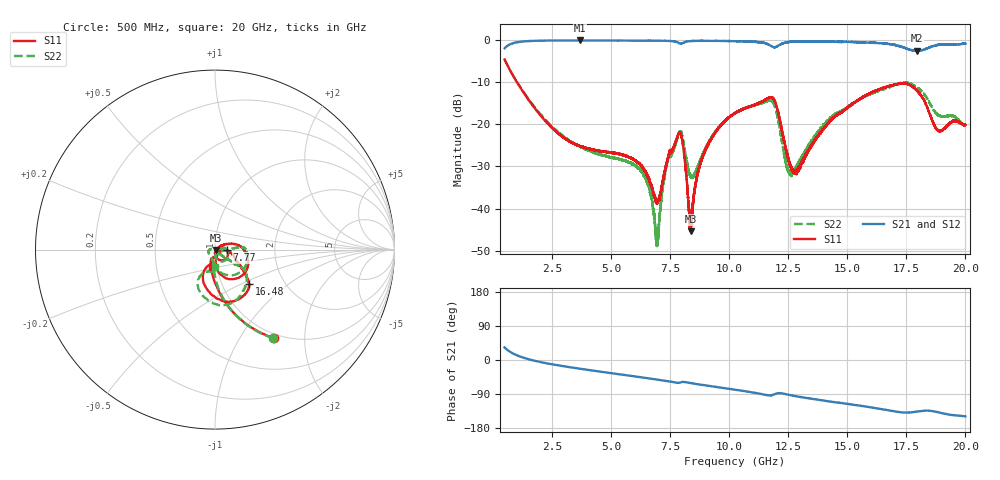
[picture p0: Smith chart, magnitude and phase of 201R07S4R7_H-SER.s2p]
!{201R07S4R7}
!Johanson Technology Inc.
!www.johansontechnology.com
!Test Board Conditions:
!Substrate Type  RO4350B
!Substrate Thickness  10 mil
!Substrate Dk  3.66
!TL Type: GCPW
!TL Trace Width  21 mil
!TL Gap  20 mil
!Electrode orientation  Horizontal
!DUT TOPOLOGY	SERIES
!Mounting Pad LxW  16x21 mil
!Agilent Technologies,N5230A,MY45001966,A.07.50.67
!Agilent N5230A: A.07.50.67
! Created Mon Mar  9 15:10:34 2020
# mhz S ma R 50
! 2 Port Network Data from SP1.SP block
! freq  magS11  angS11  magS21  angS21  magS12  angS12  magS22  angS22
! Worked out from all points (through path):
!   19501 points, 500 MHz to 20 GHz, reference 50 ohm
!   highest |S21| = -0.05 dB at 3.679 GHz (marker M1); lowest = -2.5 dB at 17.96 GHz (marker M2)
!   group delay of S21, straight-line fit = 23 ps
!   lowest |S11| = -45.4 dB at 8.376 GHz (marker M3), VSWR 1.01, Z = 50.5 - j0.177 ohm
!   |S11| at or under -10 dB: 1.025 GHz to end of sweep
!   |S22| runs from -48.9 to -4.6 dB; largest |S21 - S12| = 0.016
!   S11 on the Smith chart (normalised r, x): 500 MHz: 0.94, -1.42; 7.77 GHz: 1.14, -0.00; 16.48 GHz: 1.34, -0.55; 20 GHz: 0.95, -0.19
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500  0.5908 -56.4  0.8018 33.2  0.8021 33.2  0.5914 -56.6
1386  0.2213 -85.8  0.9719 4.5  0.9721 4.5  0.2254 -84.3
3679  0.05528 -112.1  0.9941 -23.0  0.9925 -23.0  0.05436 -108.1
3750  0.05441 -112.1  0.9924 -23.6  0.9935 -23.6  0.05351 -109.2
6256  0.03256 -87.5  0.9889 -45.5  0.9894 -45.4  0.02787 177.7
6629  0.02147 -77.2  0.9887 -48.6  0.9891 -48.7  0.01685 168.8
7000  0.01271 -17.6  0.9881 -52.0  0.9875 -52.0  0.004987 58.4
7371  0.03587 31.2  0.9842 -55.5  0.9832 -55.5  0.0333 8.7
7770  0.06558 -1.9  0.9552 -59.8  0.9549 -59.8  0.06282 -0.4
8012  0.06618 -62.3  0.9192 -58.0  0.9203 -58.1  0.07421 -63.2
8376  0.005352 -19.2  0.9779 -60.9  0.9786 -60.9  0.02403 -61.3
8966  0.04699 30.3  0.984 -66.7  0.9832 -66.6  0.04909 -6.6
10250  0.1361 9.9  0.9739 -78.3  0.9749 -78.2  0.1361 5.2
11823  0.2078 -44.7  0.8414 -92.7  0.843 -92.7  0.1873 -42.5
12597  0.03181 -66.0  0.96 -92.7  0.9625 -92.9  0.0275 -64.4
12883  0.0291 -25.8  0.971 -96.0  0.9694 -96.2  0.03274 -46.1
13500  0.05811 -2.8  0.9745 -102.5  0.9697 -102.5  0.06301 -38.8
16478  0.2688 -45.2  0.9193 -130.0  0.9116 -129.7  0.2594 -48.8
16750  0.2837 -48.5  0.907 -132.7  0.8964 -132.8  0.2787 -54.8
17963  0.2496 -94.7  0.7494 -136.0  0.7562 -135.8  0.2743 -101.5
18833  0.08541 -104.2  0.8789 -137.8  0.8808 -137.7  0.1305 -110.1
20000  0.09858 -100.5  0.9135 -148.9  0.9144 -148.8  0.0976 -91.0
